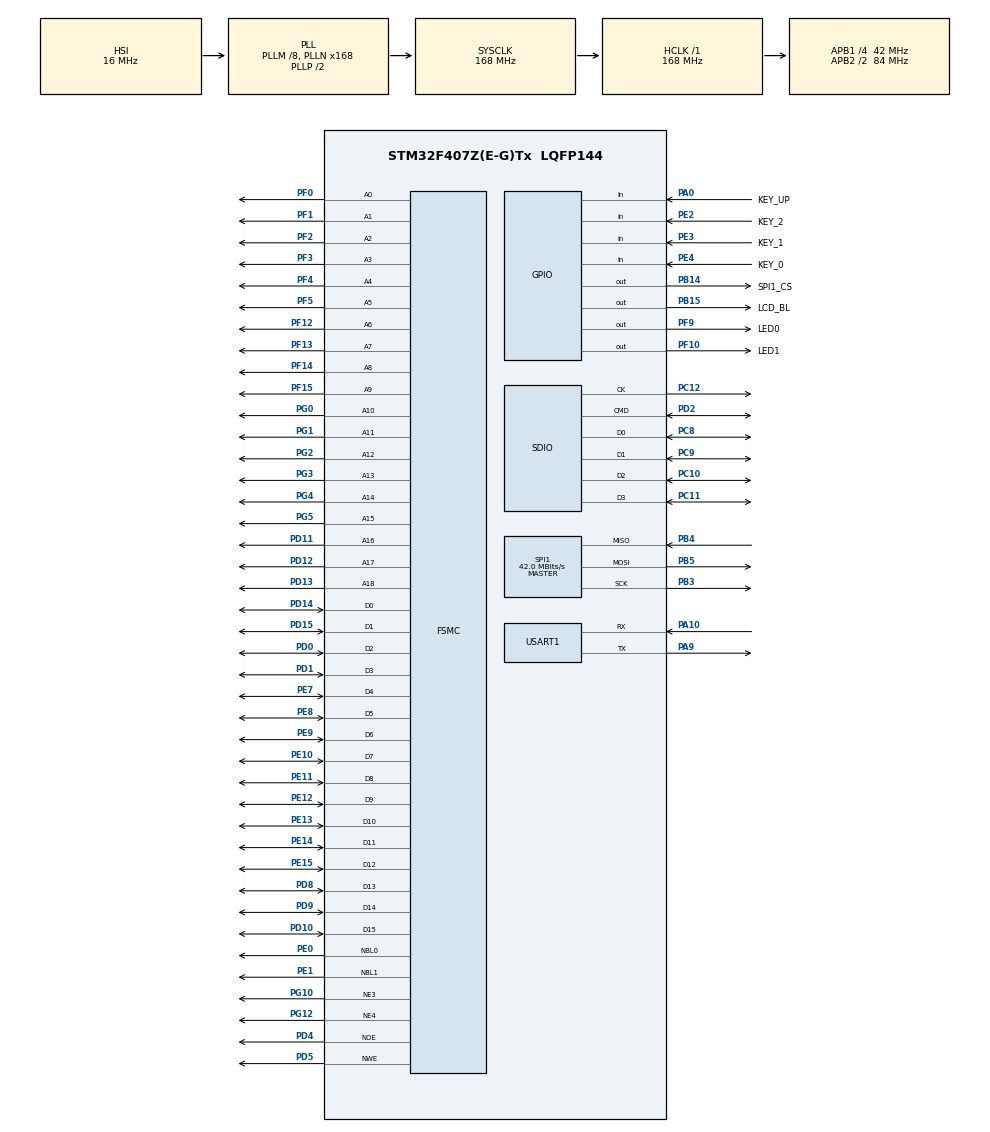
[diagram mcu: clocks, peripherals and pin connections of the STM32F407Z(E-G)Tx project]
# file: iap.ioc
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Dma.Request0=USART1_RX
Dma.Request1=USART1_TX
Dma.Request2=SDIO_RX
Dma.Request3=SDIO_TX
Dma.Request4=SPI1_RX
Dma.Request5=SPI1_TX
Dma.SDIO_RX.2.Direction=DMA_PERIPH_TO_MEMORY
Dma.SDIO_RX.2.FIFOMode=DMA_FIFOMODE_ENABLE
Dma.SDIO_RX.2.FIFOThreshold=DMA_FIFO_THRESHOLD_FULL
Dma.SDIO_RX.2.Instance=DMA2_Stream3
Dma.SDIO_RX.2.MemBurst=DMA_MBURST_INC4
Dma.SDIO_RX.2.MemDataAlignment=DMA_MDATAALIGN_WORD
Dma.SDIO_RX.2.MemInc=DMA_MINC_ENABLE
Dma.SDIO_RX.2.Mode=DMA_PFCTRL
Dma.SDIO_RX.2.PeriphBurst=DMA_PBURST_INC4
Dma.SDIO_RX.2.PeriphDataAlignment=DMA_PDATAALIGN_WORD
Dma.SDIO_RX.2.PeriphInc=DMA_PINC_DISABLE
Dma.SDIO_RX.2.Priority=DMA_PRIORITY_LOW
Dma.SDIO_TX.3.Direction=DMA_MEMORY_TO_PERIPH
Dma.SDIO_TX.3.FIFOMode=DMA_FIFOMODE_ENABLE
Dma.SDIO_TX.3.FIFOThreshold=DMA_FIFO_THRESHOLD_FULL
Dma.SDIO_TX.3.Instance=DMA2_Stream6
Dma.SDIO_TX.3.MemBurst=DMA_MBURST_INC4
Dma.SDIO_TX.3.MemDataAlignment=DMA_MDATAALIGN_WORD
Dma.SDIO_TX.3.MemInc=DMA_MINC_ENABLE
Dma.SDIO_TX.3.Mode=DMA_PFCTRL
Dma.SDIO_TX.3.PeriphBurst=DMA_PBURST_INC4
Dma.SDIO_TX.3.PeriphDataAlignment=DMA_PDATAALIGN_WORD
Dma.SDIO_TX.3.PeriphInc=DMA_PINC_DISABLE
Dma.SDIO_TX.3.Priority=DMA_PRIORITY_LOW
Dma.SPI1_RX.4.Direction=DMA_PERIPH_TO_MEMORY
Dma.SPI1_RX.4.FIFOMode=DMA_FIFOMODE_DISABLE
Dma.SPI1_RX.4.Instance=DMA2_Stream0
Dma.SPI1_RX.4.MemDataAlignment=DMA_MDATAALIGN_BYTE
Dma.SPI1_RX.4.MemInc=DMA_MINC_ENABLE
Dma.SPI1_RX.4.Mode=DMA_NORMAL
Dma.SPI1_RX.4.PeriphDataAlignment=DMA_PDATAALIGN_BYTE
Dma.SPI1_RX.4.PeriphInc=DMA_PINC_DISABLE
Dma.SPI1_RX.4.Priority=DMA_PRIORITY_LOW
Dma.SPI1_TX.5.Direction=DMA_MEMORY_TO_PERIPH
Dma.SPI1_TX.5.FIFOMode=DMA_FIFOMODE_DISABLE
Dma.SPI1_TX.5.Instance=DMA2_Stream5
Dma.SPI1_TX.5.MemDataAlignment=DMA_MDATAALIGN_BYTE
Dma.SPI1_TX.5.MemInc=DMA_MINC_ENABLE
Dma.SPI1_TX.5.Mode=DMA_NORMAL
Dma.SPI1_TX.5.PeriphDataAlignment=DMA_PDATAALIGN_BYTE
Dma.SPI1_TX.5.PeriphInc=DMA_PINC_DISABLE
Dma.SPI1_TX.5.Priority=DMA_PRIORITY_LOW
Dma.USART1_RX.0.Direction=DMA_PERIPH_TO_MEMORY
Dma.USART1_RX.0.FIFOMode=DMA_FIFOMODE_DISABLE
Dma.USART1_RX.0.Instance=DMA2_Stream2
Dma.USART1_RX.0.MemDataAlignment=DMA_MDATAALIGN_BYTE
Dma.USART1_RX.0.MemInc=DMA_MINC_ENABLE
Dma.USART1_RX.0.Mode=DMA_CIRCULAR
Dma.USART1_RX.0.PeriphDataAlignment=DMA_PDATAALIGN_BYTE
Dma.USART1_RX.0.PeriphInc=DMA_PINC_DISABLE
Dma.USART1_RX.0.Priority=DMA_PRIORITY_LOW
Dma.USART1_TX.1.Direction=DMA_MEMORY_TO_PERIPH
Dma.USART1_TX.1.FIFOMode=DMA_FIFOMODE_DISABLE
Dma.USART1_TX.1.Instance=DMA2_Stream7
Dma.USART1_TX.1.MemDataAlignment=DMA_MDATAALIGN_BYTE
Dma.USART1_TX.1.MemInc=DMA_MINC_ENABLE
Dma.USART1_TX.1.Mode=DMA_NORMAL
Dma.USART1_TX.1.PeriphDataAlignment=DMA_PDATAALIGN_BYTE
Dma.USART1_TX.1.PeriphInc=DMA_PINC_DISABLE
Dma.USART1_TX.1.Priority=DMA_PRIORITY_LOW
FATFS.USE_DMA_CODE_SD=1
FATFS._CODE_PAGE=1
FATFS._FS_TINY=1
FATFS._MAX_SS=4096
FATFS._USE_LFN=0
FSMC.AddressSetupTime1=9
FSMC.BusTurnAroundDuration1=0
FSMC.DataSetupTime1=8
FSMC.WriteOperation3=FSMC_WRITE_OPERATION_ENABLE
Mcu.Family=STM32F4
Mcu.Name=STM32F407Z(E-G)Tx
Mcu.Package=LQFP144
NVIC.DMA2_Stream0_IRQn=true\:0\:0\:false\:false\:true\:false\:true\:true
NVIC.DMA2_Stream2_IRQn=true\:0\:0\:false\:false\:true\:false\:true\:true
NVIC.DMA2_Stream3_IRQn=true\:0\:0\:false\:false\:true\:false\:true\:true
NVIC.DMA2_Stream5_IRQn=true\:0\:0\:false\:false\:true\:false\:true\:true
NVIC.DMA2_Stream6_IRQn=true\:0\:0\:false\:false\:true\:false\:true\:true
NVIC.DMA2_Stream7_IRQn=true\:0\:0\:false\:false\:true\:false\:true\:true
NVIC.PriorityGroup=NVIC_PRIORITYGROUP_4
NVIC.SDIO_IRQn=true\:0\:0\:false\:false\:true\:true\:true\:true
NVIC.SPI1_IRQn=true\:0\:0\:false\:false\:true\:true\:true\:true
NVIC.USART1_IRQn=true\:0\:0\:false\:false\:true\:true\:true\:true
PA0-WKUP.GPIO_Label=KEY_UP
PA0-WKUP.GPIO_PuPd=GPIO_PULLDOWN
PA0-WKUP.Signal=GPIO_Input
PA10.Mode=Asynchronous
PA10.Signal=USART1_RX
PA13.Mode=Serial_Wire
PA13.Signal=SYS_JTMS-SWDIO
PA14.Mode=Serial_Wire
PA14.Signal=SYS_JTCK-SWCLK
PA9.Mode=Asynchronous
PA9.Signal=USART1_TX
PB14.GPIO_Label=SPI1_CS
PB14.Signal=GPIO_Output
PB15.GPIO_Label=LCD_BL
PB15.Signal=GPIO_Output
PB3.Mode=Full_Duplex_Master
PB3.Signal=SPI1_SCK
PB4.Mode=Full_Duplex_Master
PB4.Signal=SPI1_MISO
PB5.Mode=Full_Duplex_Master
PB5.Signal=SPI1_MOSI
PC10.Mode=SD_4_bits_Wide_bus
PC10.Signal=SDIO_D2
PC11.Mode=SD_4_bits_Wide_bus
PC11.Signal=SDIO_D3
PC12.Mode=SD_4_bits_Wide_bus
PC12.Signal=SDIO_CK
PC14-OSC32_IN.Mode=LSE-External-Oscillator
PC14-OSC32_IN.Signal=RCC_OSC32_IN
PC15-OSC32_OUT.Mode=LSE-External-Oscillator
PC15-OSC32_OUT.Signal=RCC_OSC32_OUT
PC8.Mode=SD_4_bits_Wide_bus
PC8.Signal=SDIO_D0
PC9.Mode=SD_4_bits_Wide_bus
PC9.Signal=SDIO_D1
PD0.Signal=FSMC_D2_DA2
PD1.Signal=FSMC_D3_DA3
PD10.Signal=FSMC_D15_DA15
PD11.Signal=FSMC_A16_CLE
PD12.Signal=FSMC_A17_ALE
PD13.Signal=FSMC_A18
PD14.Signal=FSMC_D0_DA0
PD15.Signal=FSMC_D1_DA1
PD2.Mode=SD_4_bits_Wide_bus
PD2.Signal=SDIO_CMD
PD4.Signal=FSMC_NOE
PD5.Signal=FSMC_NWE
PD8.Signal=FSMC_D13_DA13
PD9.Signal=FSMC_D14_DA14
PE0.Signal=FSMC_NBL0
PE1.Signal=FSMC_NBL1
PE10.Signal=FSMC_D7_DA7
PE11.Signal=FSMC_D8_DA8
PE12.Signal=FSMC_D9_DA9
PE13.Signal=FSMC_D10_DA10
PE14.Signal=FSMC_D11_DA11
PE15.Signal=FSMC_D12_DA12
PE2.GPIO_Label=KEY_2
PE2.GPIO_PuPd=GPIO_PULLUP
PE2.Signal=GPIO_Input
PE3.GPIO_Label=KEY_1
PE3.GPIO_PuPd=GPIO_PULLUP
PE3.Signal=GPIO_Input
PE4.GPIO_Label=KEY_0
PE4.GPIO_PuPd=GPIO_PULLUP
PE4.Signal=GPIO_Input
PE7.Signal=FSMC_D4_DA4
PE8.Signal=FSMC_D5_DA5
PE9.Signal=FSMC_D6_DA6
PF0.Signal=FSMC_A0
PF1.Signal=FSMC_A1
PF10.GPIO_Label=LED1
PF10.Signal=GPIO_Output
PF12.Signal=FSMC_A6
PF13.Signal=FSMC_A7
PF14.Signal=FSMC_A8
PF15.Signal=FSMC_A9
PF2.Signal=FSMC_A2
PF3.Signal=FSMC_A3
PF4.Signal=FSMC_A4
PF5.Signal=FSMC_A5
PF9.GPIO_Label=LED0
PF9.Signal=GPIO_Output
PG0.Signal=FSMC_A10
PG1.Signal=FSMC_A11
PG10.Mode=NorPsramChipSelect3_3
PG10.Signal=FSMC_NE3
PG12.Mode=NorPsramChipSelect4_1
PG12.Signal=FSMC_NE4
PG2.Signal=FSMC_A12
PG3.Signal=FSMC_A13
PG4.Signal=FSMC_A14
PG5.Signal=FSMC_A15
PH0-OSC_IN.Mode=HSE-External-Oscillator
PH0-OSC_IN.Signal=RCC_OSC_IN
PH1-OSC_OUT.Mode=HSE-External-Oscillator
PH1-OSC_OUT.Signal=RCC_OSC_OUT
ProjectManager.HeapSize=0x200
ProjectManager.StackSize=0x400
ProjectManager.TargetToolchain=CMake
RCC.48MHZClocksFreq_Value=48000000
RCC.AHBFreq_Value=168000000
RCC.APB1CLKDivider=RCC_HCLK_DIV4
RCC.APB1Freq_Value=42000000
RCC.APB1TimFreq_Value=84000000
RCC.APB2CLKDivider=RCC_HCLK_DIV2
RCC.APB2Freq_Value=84000000
RCC.APB2TimFreq_Value=168000000
RCC.CortexFreq_Value=168000000
RCC.HCLKFreq_Value=168000000
RCC.HSE_VALUE=25000000
RCC.HSI_VALUE=16000000
RCC.PLLM=8
RCC.PLLN=168
RCC.PLLQ=7
RCC.SYSCLKFreq_VALUE=168000000
RCC.SYSCLKSource=RCC_SYSCLKSOURCE_PLLCLK
RCC.VCOOutputFreq_Value=336000000
SDIO.ClockDiv=4
SH.FSMC_A0.0=FSMC_A0,19b-a3
SH.FSMC_A1.0=FSMC_A1,19b-a3
SH.FSMC_A10.0=FSMC_A10,19b-a3
SH.FSMC_A11.0=FSMC_A11,19b-a3
SH.FSMC_A12.0=FSMC_A12,19b-a3
SH.FSMC_A13.0=FSMC_A13,19b-a3
SH.FSMC_A14.0=FSMC_A14,19b-a3
SH.FSMC_A15.0=FSMC_A15,19b-a3
SH.FSMC_A16_CLE.0=FSMC_A16,19b-a3
SH.FSMC_A17_ALE.0=FSMC_A17,19b-a3
SH.FSMC_A18.0=FSMC_A18,19b-a3
SH.FSMC_A2.0=FSMC_A2,19b-a3
SH.FSMC_A3.0=FSMC_A3,19b-a3
SH.FSMC_A4.0=FSMC_A4,19b-a3
SH.FSMC_A5.0=FSMC_A5,19b-a3
SH.FSMC_A6.0=FSMC_A6,A6_1
SH.FSMC_A6.1=FSMC_A6,19b-a3
SH.FSMC_A7.0=FSMC_A7,19b-a3
SH.FSMC_A8.0=FSMC_A8,19b-a3
SH.FSMC_A9.0=FSMC_A9,19b-a3
SH.FSMC_D0_DA0.0=FSMC_D0,16b-d1
SH.FSMC_D0_DA0.1=FSMC_D0,16b-d3
SH.FSMC_D10_DA10.0=FSMC_D10,16b-d1
SH.FSMC_D10_DA10.1=FSMC_D10,16b-d3
SH.FSMC_D11_DA11.0=FSMC_D11,16b-d1
SH.FSMC_D11_DA11.1=FSMC_D11,16b-d3
SH.FSMC_D12_DA12.0=FSMC_D12,16b-d1
SH.FSMC_D12_DA12.1=FSMC_D12,16b-d3
SH.FSMC_D13_DA13.0=FSMC_D13,16b-d1
SH.FSMC_D13_DA13.1=FSMC_D13,16b-d3
SH.FSMC_D14_DA14.0=FSMC_D14,16b-d1
SH.FSMC_D14_DA14.1=FSMC_D14,16b-d3
SH.FSMC_D15_DA15.0=FSMC_D15,16b-d1
SH.FSMC_D15_DA15.1=FSMC_D15,16b-d3
SH.FSMC_D1_DA1.0=FSMC_D1,16b-d1
SH.FSMC_D1_DA1.1=FSMC_D1,16b-d3
SH.FSMC_D2_DA2.0=FSMC_D2,16b-d1
SH.FSMC_D2_DA2.1=FSMC_D2,16b-d3
SH.FSMC_D3_DA3.0=FSMC_D3,16b-d1
SH.FSMC_D3_DA3.1=FSMC_D3,16b-d3
SH.FSMC_D4_DA4.0=FSMC_D4,16b-d1
SH.FSMC_D4_DA4.1=FSMC_D4,16b-d3
SH.FSMC_D5_DA5.0=FSMC_D5,16b-d1
SH.FSMC_D5_DA5.1=FSMC_D5,16b-d3
SH.FSMC_D6_DA6.0=FSMC_D6,16b-d1
SH.FSMC_D6_DA6.1=FSMC_D6,16b-d3
SH.FSMC_D7_DA7.0=FSMC_D7,16b-d1
SH.FSMC_D7_DA7.1=FSMC_D7,16b-d3
SH.FSMC_D8_DA8.0=FSMC_D8,16b-d1
SH.FSMC_D8_DA8.1=FSMC_D8,16b-d3
SH.FSMC_D9_DA9.0=FSMC_D9,16b-d1
SH.FSMC_D9_DA9.1=FSMC_D9,16b-d3
SH.FSMC_NBL0.0=FSMC_NBL0,2ByteEnable3
SH.FSMC_NBL1.0=FSMC_NBL1,2ByteEnable3
SH.FSMC_NOE.0=FSMC_NOE,Lcd1
SH.FSMC_NOE.1=FSMC_NOE,Sram3
SH.FSMC_NWE.0=FSMC_NWE,Lcd1
SH.FSMC_NWE.1=FSMC_NWE,Sram3
SPI1.CalculateBaudRate=42.0 MBits/s
SPI1.Direction=SPI_DIRECTION_2LINES
SPI1.Mode=SPI_MODE_MASTER
SPI1.VirtualType=VM_MASTER
USART1.VirtualMode=VM_ASYNC
VP_FATFS_VS_Generic.Mode=User_defined
VP_FATFS_VS_SDIO.Mode=SDIO
VP_RTC_VS_RTC_Activate.Mode=RTC_Enabled
VP_RTC_VS_RTC_Calendar.Mode=RTC_Calendar
board=custom

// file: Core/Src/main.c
/* USER CODE BEGIN Header */
/**
  ******************************************************************************
  * @file           : main.c
  * @brief          : Main program body
  ******************************************************************************
  * @attention
  *
  * Copyright (c) 2026 STMicroelectronics.
  * All rights reserved.
  *
  * This software is licensed under terms that can be found in the LICENSE file
  * in the root directory of this software component.
  * If no LICENSE file comes with this software, it is provided AS-IS.
  *
  ******************************************************************************
  */
/* USER CODE END Header */
#include "main.h"
#include "dma.h"
#include "fatfs.h"
#include "rtc.h"
#include "sdio.h"
#include "spi.h"
#include "usart.h"
#include "gpio.h"
/* USER CODE BEGIN Includes */
#include "key.h"
#include "delay.h"
#include "stdio.h"
#include "boot_manager.h"
#include "boot_verify.h"
#include <stdint.h>
#include "iap.h"
/* USER CODE END Includes */

void SystemClock_Config(void);

int main(void)
{

  /* MCU Configuration--------------------------------------------------------*/

  /* Reset of all peripherals, Initializes the Flash interface and the Systick. */
  HAL_Init();

  /* Configure the system clock */
  SystemClock_Config();

  /* Initialize all configured peripherals */
  MX_GPIO_Init();
  MX_DMA_Init();
  MX_RTC_Init();
  MX_USART1_UART_Init();
  MX_SDIO_SD_Init();
  MX_SPI1_Init();
  MX_FATFS_Init();
  /* USER CODE BEGIN 2 */

  uint32_t last_key_tick = 0;

  printf("\r\n========================================\r\n");
  printf("  STM32 IAP Bootloader %s\r\n", BOOT_VERSION);
  printf("========================================\r\n");
  printf("Initializing...\r\n");

  boot_manager_init();

  /* USER CODE END 2 */

  /* Infinite loop */
  while (1)
  {

    /* USER CODE BEGIN 3 */
    uint32_t current_tick = HAL_GetTick();

    /* execute bootloader state machine */
    boot_manager_run();

    /* key poll: every 10ms */
    if (current_tick - last_key_tick >= 10)
    {
      last_key_tick = current_tick;
      key_handle();
    }

  }
  /* USER CODE END 3 */
}

void SystemClock_Config(void)
{
  RCC_OscInitTypeDef RCC_OscInitStruct = {0};
  RCC_ClkInitTypeDef RCC_ClkInitStruct = {0};

  /** Configure the main internal regulator output voltage
  */
  __HAL_RCC_PWR_CLK_ENABLE();
  __HAL_PWR_VOLTAGESCALING_CONFIG(PWR_REGULATOR_VOLTAGE_SCALE1);

  /** Initializes the RCC Oscillators according to the specified parameters
  * in the RCC_OscInitTypeDef structure.
  */
  RCC_OscInitStruct.OscillatorType = RCC_OSCILLATORTYPE_HSI|RCC_OSCILLATORTYPE_LSI;
  RCC_OscInitStruct.HSIState = RCC_HSI_ON;
  RCC_OscInitStruct.HSICalibrationValue = RCC_HSICALIBRATION_DEFAULT;
  RCC_OscInitStruct.LSIState = RCC_LSI_ON;
  RCC_OscInitStruct.PLL.PLLState = RCC_PLL_ON;
  RCC_OscInitStruct.PLL.PLLSource = RCC_PLLSOURCE_HSI;
  RCC_OscInitStruct.PLL.PLLM = 8;
  RCC_OscInitStruct.PLL.PLLN = 168;
  RCC_OscInitStruct.PLL.PLLP = RCC_PLLP_DIV2;
  RCC_OscInitStruct.PLL.PLLQ = 7;
  if (HAL_RCC_OscConfig(&RCC_OscInitStruct) != HAL_OK)
  {
    Error_Handler();
  }

  /** Initializes the CPU, AHB and APB buses clocks
  */
  RCC_ClkInitStruct.ClockType = RCC_CLOCKTYPE_HCLK|RCC_CLOCKTYPE_SYSCLK
                              |RCC_CLOCKTYPE_PCLK1|RCC_CLOCKTYPE_PCLK2;
  RCC_ClkInitStruct.SYSCLKSource = RCC_SYSCLKSOURCE_PLLCLK;
  RCC_ClkInitStruct.AHBCLKDivider = RCC_SYSCLK_DIV1;
  RCC_ClkInitStruct.APB1CLKDivider = RCC_HCLK_DIV4;
  RCC_ClkInitStruct.APB2CLKDivider = RCC_HCLK_DIV2;

  if (HAL_RCC_ClockConfig(&RCC_ClkInitStruct, FLASH_LATENCY_5) != HAL_OK)
  {
    Error_Handler();
  }
}

/* USER CODE BEGIN 4 */

/*
 * printf 重定向到 USART1 (轮询发送)
 */
int __io_putchar(int ch)
{
  HAL_UART_Transmit(&huart1, (uint8_t *)&ch, 1, 10);
  return ch;
}

/* USER CODE END 4 */

void Error_Handler(void)
{
  __disable_irq();
  while (1)
  {
  }
}
